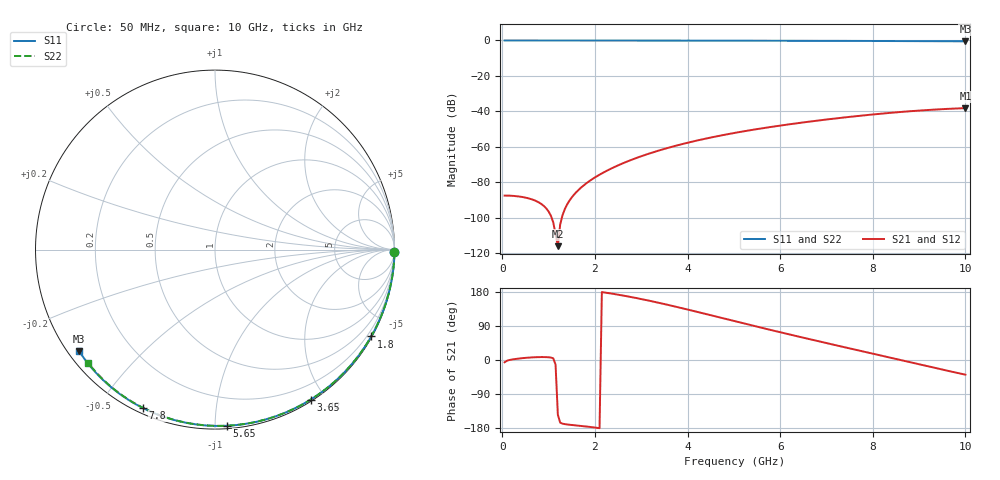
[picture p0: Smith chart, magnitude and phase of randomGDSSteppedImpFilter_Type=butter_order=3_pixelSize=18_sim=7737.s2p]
! freq	dB(S11)	phase(S11)	dB(S12)	phase(S12)
!  dB(S21)	phase(S21)	dB(S22)	phase(S22)
!S-par simulation data
#  GHz  S  DB  R 50
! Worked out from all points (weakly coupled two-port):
!   200 points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, 50 MHz to 10 GHz, reference 50 ohm
!   highest |S21| = -38.16 dB at 10 GHz (marker M1); lowest = -116.0 dB at 1.2 GHz (marker M2)
!   lowest |S11| = -0.5 dB at 10 GHz (marker M3), VSWR 35.42, Z = 1.57 - j16.6 ohm
!   |S11| at or under -10 dB: nowhere
!   |S22| runs from -0.5 to 0.0 dB; largest |S21 - S12| = 0
!   S11 on the Smith chart (normalised r, x): 50 MHz: open; 1.8 GHz: 0.03, -3.86; 3.65 GHz: 0.02, -1.82; 5.65 GHz: 0.02, -1.07; 7.8 GHz: 0.02, -0.64; 10 GHz: 0.03, -0.33
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0.05  -0.00 -0.8  -87.50 -6.0  -87.50 -6.0  -0.00 -0.8
0.6  -0.01 -9.8  -89.29 6.6  -89.29 6.6  -0.01 -9.6
1.2  -0.02 -19.5  -116.02 -144.7  -116.02 -144.7  -0.02 -19.0
1.75  -0.04 -28.3  -81.89 -174.6  -81.89 -174.6  -0.04 -27.6
1.8  -0.04 -29.1  -80.85 -175.3  -80.85 -175.3  -0.04 -28.4
1.85  -0.04 -29.8  -79.88 -176.0  -79.88 -176.0  -0.04 -29.1
2  -0.04 -32.2  -77.26 -178.3  -77.26 -178.3  -0.04 -31.4
2.15  -0.04 -34.6  -74.96 179.2  -74.96 179.2  -0.04 -33.7
2.35  -0.05 -37.7  -72.27 175.5  -72.27 175.5  -0.05 -36.8
2.55  -0.05 -40.8  -69.87 171.4  -69.87 171.4  -0.05 -39.8
2.95  -0.06 -46.9  -65.77 162.1  -65.77 162.1  -0.06 -45.8
3.4  -0.07 -53.7  -61.93 150.4  -61.93 150.4  -0.07 -52.5
3.65  -0.08 -57.5  -60.06 143.4  -60.06 143.4  -0.08 -56.1
4.3  -0.09 -67.0  -55.88 124.3  -55.88 124.3  -0.09 -65.4
5.05  -0.12 -77.7  -51.98 101.6  -51.98 101.6  -0.12 -75.9
5.65  -0.14 -86.0  -49.38 83.6  -49.38 83.6  -0.14 -84.0
6.15  -0.16 -92.8  -47.46 68.9  -47.46 68.9  -0.16 -90.6
6.7  -0.19 -100.2  -45.55 53.1  -45.55 53.1  -0.19 -97.7
7.8  -0.27 -114.5  -42.26 22.2  -42.26 22.2  -0.26 -111.6
8.35  -0.31 -121.6  -40.89 6.8  -40.89 6.8  -0.30 -118.4
9.2  -0.39 -132.6  -39.20 -16.9  -39.20 -16.9  -0.38 -128.7
10  -0.49 -143.2  -38.16 -38.7  -38.16 -38.7  -0.47 -138.2
